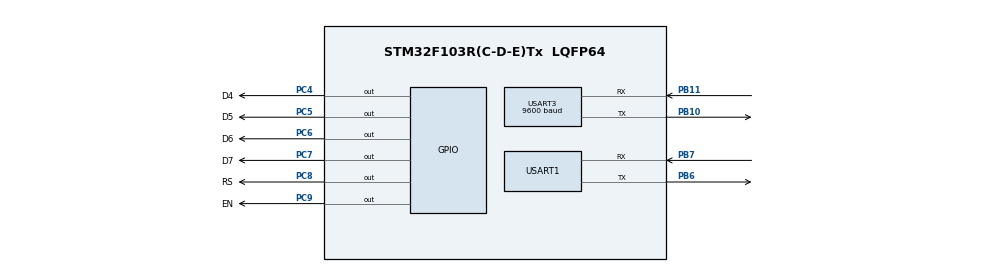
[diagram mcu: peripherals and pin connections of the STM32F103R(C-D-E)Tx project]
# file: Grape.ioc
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Mcu.Family=STM32F1
Mcu.Name=STM32F103R(C-D-E)Tx
Mcu.Package=LQFP64
NVIC.PriorityGroup=NVIC_PRIORITYGROUP_4
NVIC.USART3_IRQn=true\:0\:0\:false\:false\:true\:true\:true
PA13.Mode=Serial_Wire
PA13.Signal=SYS_JTMS-SWDIO
PA14.Mode=Serial_Wire
PA14.Signal=SYS_JTCK-SWCLK
PB10.Mode=Asynchronous
PB10.Signal=USART3_TX
PB11.Mode=Asynchronous
PB11.Signal=USART3_RX
PB6.Mode=Asynchronous
PB6.Signal=USART1_TX
PB7.Mode=Asynchronous
PB7.Signal=USART1_RX
PC14-OSC32_IN.Mode=LSE-External-Oscillator
PC14-OSC32_IN.Signal=RCC_OSC32_IN
PC15-OSC32_OUT.Mode=LSE-External-Oscillator
PC15-OSC32_OUT.Signal=RCC_OSC32_OUT
PC4.GPIO_Label=D4
PC4.Signal=GPIO_Output
PC5.GPIO_Label=D5
PC5.Signal=GPIO_Output
PC6.GPIO_Label=D6
PC6.Signal=GPIO_Output
PC7.GPIO_Label=D7
PC7.Signal=GPIO_Output
PC8.GPIO_Label=RS
PC8.Signal=GPIO_Output
PC9.GPIO_Label=EN
PC9.Signal=GPIO_Output
PD0-OSC_IN.Mode=HSE-External-Oscillator
PD0-OSC_IN.Signal=RCC_OSC_IN
PD1-OSC_OUT.Mode=HSE-External-Oscillator
PD1-OSC_OUT.Signal=RCC_OSC_OUT
ProjectManager.HeapSize=0x200
ProjectManager.StackSize=0x400
ProjectManager.TargetToolchain=TrueSTUDIO
RCC.APB1Freq_Value=8000000
RCC.APB2Freq_Value=8000000
USART1.VirtualMode=VM_ASYNC
USART3.BaudRate=9600
USART3.VirtualMode=VM_ASYNC
board=custom

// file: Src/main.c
/* USER CODE BEGIN Header */
/**
  ******************************************************************************
  * @file           : main.c
  * @brief          : Main program body
  ******************************************************************************
  * @attention
  *
  * <h2><center>&copy; Copyright (c) 2022 STMicroelectronics.
  * All rights reserved.</center></h2>
  *
  * This software component is licensed by ST under BSD 3-Clause license,
  * the "License"; You may not use this file except in compliance with the
  * License. You may obtain a copy of the License at:
  *                        opensource.org/licenses/BSD-3-Clause
  *
  ******************************************************************************
  */
/* USER CODE END Header */
#include "main.h"

/* USER CODE BEGIN Includes */
#include "stdlib.h"
#include "lcd.h"
/* USER CODE END Includes */

UART_HandleTypeDef huart1;
UART_HandleTypeDef huart3;

/* USER CODE BEGIN PV */
unsigned char send_data ;
unsigned char receive_data[5];
unsigned char receive_data_itr;
uint16_t receive;
/* USER CODE END PV */

void SystemClock_Config(void);
static void MX_GPIO_Init(void);
static void MX_USART1_UART_Init(void);
static void MX_USART3_UART_Init(void);

/* USER CODE BEGIN 0 */
void HAL_UART_RxCpltCallback(UART_HandleTypeDef *huart)
{
	 if(huart->Instance == USART3)
	 {
		 switch(receive_data_itr)
		 {
			 case 'a':
			 {
				 send_data = receive_data_itr;
				 HAL_UART_Transmit(&huart1, &send_data, sizeof(send_data) ,100);
			 }
			 break;
			 case 'b':
			 {
				 send_data = receive_data_itr;
				 HAL_UART_Transmit(&huart1, &send_data, sizeof(send_data) ,100);
			 }
			 break;
			 case 'c':
			 {
				 send_data = receive_data_itr;
				 HAL_UART_Transmit(&huart1, &send_data, sizeof(send_data) ,100);
			 }
			 break;
			 default:
			 {
				 send_data = 'y';
				 HAL_UART_Transmit(&huart1, &send_data, sizeof(send_data) ,100);
				 receive_data_itr = 0;
			 }
			 break;
		 }
	 }
	 HAL_UART_Receive_IT(&huart3, &receive_data_itr, sizeof(receive_data_itr));
}
/* USER CODE END 0 */

int main(void)
{

  /* MCU Configuration--------------------------------------------------------*/

  /* Reset of all peripherals, Initializes the Flash interface and the Systick. */
  HAL_Init();

  /* Configure the system clock */
  SystemClock_Config();

  /* Initialize all configured peripherals */
  MX_GPIO_Init();
  MX_USART1_UART_Init();
  MX_USART3_UART_Init();
  /* USER CODE BEGIN 2 */
  LCD_init();

  HAL_UART_Receive_IT(&huart3, &receive_data_itr, sizeof(receive_data_itr));
  /* USER CODE END 2 */

  /* Infinite loop */
  while (1)
  {

    /* USER CODE BEGIN 3 */
	  //HAL_UART_Receive(&huart1, &receive_data , sizeof(receive_data), 100);
	  //HAL_UART_Transmit(&huart1, &send_data , sizeof(send_data), 100); //test
	  /*
	  if (receive_data == 'x')
	  {
		  LCD_printf("Trang thai:co");
		  receive_data = 0;
	  }
	  else
	  {
		  LCD_printf("Trang thai:nghi");
	  }
	  */
	  if (HAL_UART_Receive(&huart1, &receive_data , sizeof(receive_data), 100) == HAL_OK)
	  {
		  sscanf(receive_data, "%d", &receive);
		  LCD_setCursor(0,0);
		  if (receive < 300)
		  {
			LCD_printf("Hay dan dien cuc");
			LCD_setCursor(1,0);
			LCD_printf("len vi tri batki");
		  }
		  else
		  {
			  LCD_printf("Trang thai:");
			  LCD_printf(receive_data);
		  }

		  if (receive > 1900)
		  {
			LCD_setCursor(1,0);
			LCD_printf("Dang co");
		  }
		  HAL_Delay(1000);
		  LCD_clear();
	  }
	  else
	  {
		  LCD_setCursor(0,0);
		  LCD_printf("Khong co du lieu");
	  }

	  if (send_data == 'a' || send_data == 'b' || send_data == 'c')
	  {
		  LCD_setCursor(1,0);
		  LCD_printf("Manual");
	  }

	  //HAL_Delay(1000);
	  //LCD_clear();
  }
  /* USER CODE END 3 */
}

void SystemClock_Config(void)
{
  RCC_OscInitTypeDef RCC_OscInitStruct = {0};
  RCC_ClkInitTypeDef RCC_ClkInitStruct = {0};

  /** Initializes the RCC Oscillators according to the specified parameters
  * in the RCC_OscInitTypeDef structure.
  */
  RCC_OscInitStruct.OscillatorType = RCC_OSCILLATORTYPE_HSI;
  RCC_OscInitStruct.HSIState = RCC_HSI_ON;
  RCC_OscInitStruct.HSICalibrationValue = RCC_HSICALIBRATION_DEFAULT;
  RCC_OscInitStruct.PLL.PLLState = RCC_PLL_NONE;
  if (HAL_RCC_OscConfig(&RCC_OscInitStruct) != HAL_OK)
  {
    Error_Handler();
  }
  /** Initializes the CPU, AHB and APB buses clocks
  */
  RCC_ClkInitStruct.ClockType = RCC_CLOCKTYPE_HCLK|RCC_CLOCKTYPE_SYSCLK
                              |RCC_CLOCKTYPE_PCLK1|RCC_CLOCKTYPE_PCLK2;
  RCC_ClkInitStruct.SYSCLKSource = RCC_SYSCLKSOURCE_HSI;
  RCC_ClkInitStruct.AHBCLKDivider = RCC_SYSCLK_DIV1;
  RCC_ClkInitStruct.APB1CLKDivider = RCC_HCLK_DIV1;
  RCC_ClkInitStruct.APB2CLKDivider = RCC_HCLK_DIV1;

  if (HAL_RCC_ClockConfig(&RCC_ClkInitStruct, FLASH_LATENCY_0) != HAL_OK)
  {
    Error_Handler();
  }
}

static void MX_USART1_UART_Init(void)
{

  huart1.Instance = USART1;
  huart1.Init.BaudRate = 115200;
  huart1.Init.WordLength = UART_WORDLENGTH_8B;
  huart1.Init.StopBits = UART_STOPBITS_1;
  huart1.Init.Parity = UART_PARITY_NONE;
  huart1.Init.Mode = UART_MODE_TX_RX;
  huart1.Init.HwFlowCtl = UART_HWCONTROL_NONE;
  huart1.Init.OverSampling = UART_OVERSAMPLING_16;
  if (HAL_UART_Init(&huart1) != HAL_OK)
  {
    Error_Handler();
  }

}

static void MX_USART3_UART_Init(void)
{

  huart3.Instance = USART3;
  huart3.Init.BaudRate = 9600;
  huart3.Init.WordLength = UART_WORDLENGTH_8B;
  huart3.Init.StopBits = UART_STOPBITS_1;
  huart3.Init.Parity = UART_PARITY_NONE;
  huart3.Init.Mode = UART_MODE_TX_RX;
  huart3.Init.HwFlowCtl = UART_HWCONTROL_NONE;
  huart3.Init.OverSampling = UART_OVERSAMPLING_16;
  if (HAL_UART_Init(&huart3) != HAL_OK)
  {
    Error_Handler();
  }

}

static void MX_GPIO_Init(void)
{
  GPIO_InitTypeDef GPIO_InitStruct = {0};

  /* GPIO Ports Clock Enable */
  __HAL_RCC_GPIOC_CLK_ENABLE();
  __HAL_RCC_GPIOD_CLK_ENABLE();
  __HAL_RCC_GPIOB_CLK_ENABLE();
  __HAL_RCC_GPIOA_CLK_ENABLE();

  /*Configure GPIO pin Output Level */
  HAL_GPIO_WritePin(GPIOC, D4_Pin|D5_Pin|D6_Pin|D7_Pin
                          |RS_Pin|EN_Pin, GPIO_PIN_RESET);

  /*Configure GPIO pins : D4_Pin D5_Pin D6_Pin D7_Pin
                           RS_Pin EN_Pin */
  GPIO_InitStruct.Pin = D4_Pin|D5_Pin|D6_Pin|D7_Pin
                          |RS_Pin|EN_Pin;
  GPIO_InitStruct.Mode = GPIO_MODE_OUTPUT_PP;
  GPIO_InitStruct.Pull = GPIO_NOPULL;
  GPIO_InitStruct.Speed = GPIO_SPEED_FREQ_LOW;
  HAL_GPIO_Init(GPIOC, &GPIO_InitStruct);

}

void Error_Handler(void)
{
  __disable_irq();
  while (1)
  {
  }
}

/************************ (C) COPYRIGHT STMicroelectronics *****END OF FILE****/
